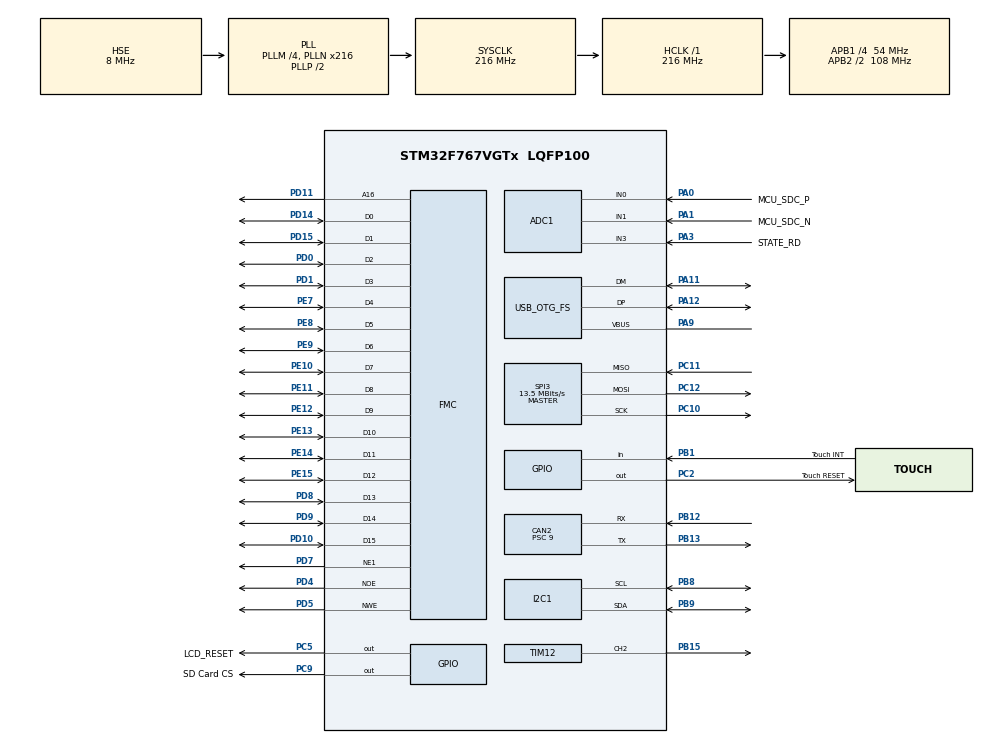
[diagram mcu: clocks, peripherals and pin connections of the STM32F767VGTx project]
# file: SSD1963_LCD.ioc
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ADC1.Channel-0\#ChannelRegularConversion=ADC_CHANNEL_1
ADC1.Channel-1\#ChannelRegularConversion=ADC_CHANNEL_0
ADC1.Channel-2\#ChannelRegularConversion=ADC_CHANNEL_0
ADC1.NbrOfConversion=3
ADC1.NbrOfConversionFlag=1
ADC1.Rank-0\#ChannelRegularConversion=1
ADC1.Rank-1\#ChannelRegularConversion=2
ADC1.Rank-2\#ChannelRegularConversion=3
ADC1.SamplingTime-0\#ChannelRegularConversion=ADC_SAMPLETIME_3CYCLES
ADC1.SamplingTime-1\#ChannelRegularConversion=ADC_SAMPLETIME_3CYCLES
ADC1.SamplingTime-2\#ChannelRegularConversion=ADC_SAMPLETIME_3CYCLES
ADC1.ScanConvMode=ADC_SCAN_ENABLE
ADC1.master=1
CAN2.BS1=CAN_BS1_9TQ
CAN2.BS2=CAN_BS2_2TQ
CAN2.CalculateBaudRate=499999
CAN2.CalculateTimeBit=2000
CAN2.CalculateTimeQuantum=166.66666666666669
CAN2.Prescaler=9
CORTEX_M7.AccessPermission_S-Cortex_Memory_Protection_Unit_Region1_Settings_S=MPU_REGION_FULL_ACCESS
CORTEX_M7.AccessPermission_Spec=MPU_REGION_PRIV_RW
CORTEX_M7.BaseAddress_S-Cortex_Memory_Protection_Unit_Region1_Settings_S=0x60000000
CORTEX_M7.DisableExec_S-Cortex_Memory_Protection_Unit_Region1_Settings_S=MPU_INSTRUCTION_ACCESS_DISABLE
CORTEX_M7.DisableExec_Spec=MPU_INSTRUCTION_ACCESS_ENABLE
CORTEX_M7.Enable_S-Cortex_Memory_Protection_Unit_Region1_Settings_S=MPU_REGION_ENABLE
CORTEX_M7.IsShareable_S-Cortex_Memory_Protection_Unit_Region1_Settings_S=MPU_ACCESS_SHAREABLE
CORTEX_M7.Size_S-Cortex_Memory_Protection_Unit_Region1_Settings_S=MPU_REGION_SIZE_8MB
CORTEX_M7.default_mode_Activation=1
FATFS._USE_LFN=1
FMC.AddressSetupTime1=15
FMC.DataSetupTime1=20
FMC.ExtendedMode1=FMC_EXTENDED_MODE_DISABLE
I2C1.Timing=0x20404768
Mcu.Family=STM32F7
Mcu.Name=STM32F767VGTx
Mcu.Package=LQFP100
NVIC.ADC_IRQn=true\:0\:0\:false\:false\:true\:true\:true\:true
NVIC.CAN2_RX0_IRQn=true\:0\:0\:false\:false\:true\:true\:true\:true
NVIC.CAN2_RX1_IRQn=true\:0\:0\:false\:false\:true\:true\:true\:true
NVIC.CAN2_TX_IRQn=true\:0\:0\:false\:false\:true\:true\:true\:true
NVIC.OTG_FS_IRQn=true\:0\:0\:false\:false\:true\:false\:true\:true
NVIC.PriorityGroup=NVIC_PRIORITYGROUP_4
PA0/WKUP.GPIO_Label=MCU_SDC_P
PA0/WKUP.Signal=ADCx_IN0
PA1.GPIO_Label=MCU_SDC_N
PA1.Signal=ADCx_IN1
PA11.Mode=Device_Only
PA11.Signal=USB_OTG_FS_DM
PA12.Mode=Device_Only
PA12.Signal=USB_OTG_FS_DP
PA13.Signal=SYS_JTMS-SWDIO
PA14.Signal=SYS_JTCK-SWCLK
PA3.GPIO_Label=STATE_RD
PA3.Signal=ADCx_IN3
PA9.Mode=Activate_VBUS
PA9.Signal=USB_OTG_FS_VBUS
PB1.GPIO_Label=Touch INT
PB1.GPIO_PuPd=GPIO_PULLUP
PB1.Signal=GPIO_Input
PB12.Mode=CAN_Activate
PB12.Signal=CAN2_RX
PB13.Mode=CAN_Activate
PB13.Signal=CAN2_TX
PB15.Signal=S_TIM12_CH2
PB8.Mode=I2C
PB8.Signal=I2C1_SCL
PB9.Mode=I2C
PB9.Signal=I2C1_SDA
PC10.Mode=Full_Duplex_Master
PC10.Signal=SPI3_SCK
PC11.Mode=Full_Duplex_Master
PC11.Signal=SPI3_MISO
PC12.Mode=Full_Duplex_Master
PC12.Signal=SPI3_MOSI
PC2.GPIO_Label=Touch RESET
PC2.PinState=GPIO_PIN_SET
PC2.Signal=GPIO_Output
PC5.GPIO_Label=LCD_RESET
PC5.PinState=GPIO_PIN_RESET
PC5.Signal=GPIO_Output
PC9.GPIO_Label=SD Card CS
PC9.PinState=GPIO_PIN_SET
PC9.Signal=GPIO_Output
PD0.GPIO_Speed_High_Default=GPIO_SPEED_FREQ_MEDIUM
PD0.Signal=FMC_D2_DA2
PD1.GPIO_Speed_High_Default=GPIO_SPEED_FREQ_MEDIUM
PD1.Signal=FMC_D3_DA3
PD10.GPIO_Speed_High_Default=GPIO_SPEED_FREQ_MEDIUM
PD10.Signal=FMC_D15_DA15
PD11.GPIO_Speed_High_Default=GPIO_SPEED_FREQ_MEDIUM
PD11.Signal=FMC_A16_CLE
PD14.GPIO_Speed_High_Default=GPIO_SPEED_FREQ_MEDIUM
PD14.Signal=FMC_D0_DA0
PD15.GPIO_Speed_High_Default=GPIO_SPEED_FREQ_MEDIUM
PD15.Signal=FMC_D1_DA1
PD4.GPIO_PuPd=GPIO_PULLUP
PD4.GPIO_Speed_High_Default=GPIO_SPEED_FREQ_MEDIUM
PD4.Signal=FMC_NOE
PD5.GPIO_PuPd=GPIO_PULLUP
PD5.GPIO_Speed_High_Default=GPIO_SPEED_FREQ_MEDIUM
PD5.Signal=FMC_NWE
PD7.GPIO_PuPd=GPIO_PULLUP
PD7.GPIO_Speed_High_Default=GPIO_SPEED_FREQ_MEDIUM
PD7.Mode=NorPsramChipSelect1_1
PD7.Signal=FMC_NE1
PD8.GPIO_Speed_High_Default=GPIO_SPEED_FREQ_MEDIUM
PD8.Signal=FMC_D13_DA13
PD9.GPIO_Speed_High_Default=GPIO_SPEED_FREQ_MEDIUM
PD9.Signal=FMC_D14_DA14
PE10.GPIO_Speed_High_Default=GPIO_SPEED_FREQ_MEDIUM
PE10.Signal=FMC_D7_DA7
PE11.GPIO_Speed_High_Default=GPIO_SPEED_FREQ_MEDIUM
PE11.Signal=FMC_D8_DA8
PE12.GPIO_Speed_High_Default=GPIO_SPEED_FREQ_MEDIUM
PE12.Signal=FMC_D9_DA9
PE13.GPIO_Speed_High_Default=GPIO_SPEED_FREQ_MEDIUM
PE13.Signal=FMC_D10_DA10
PE14.GPIO_Speed_High_Default=GPIO_SPEED_FREQ_MEDIUM
PE14.Signal=FMC_D11_DA11
PE15.GPIO_Speed_High_Default=GPIO_SPEED_FREQ_MEDIUM
PE15.Signal=FMC_D12_DA12
PE7.GPIO_Speed_High_Default=GPIO_SPEED_FREQ_MEDIUM
PE7.Signal=FMC_D4_DA4
PE8.GPIO_Speed_High_Default=GPIO_SPEED_FREQ_MEDIUM
PE8.Signal=FMC_D5_DA5
PE9.GPIO_Speed_High_Default=GPIO_SPEED_FREQ_MEDIUM
PE9.Signal=FMC_D6_DA6
PH0/OSC_IN.Mode=HSE-External-Oscillator
PH0/OSC_IN.Signal=RCC_OSC_IN
PH1/OSC_OUT.Mode=HSE-External-Oscillator
PH1/OSC_OUT.Signal=RCC_OSC_OUT
ProjectManager.HeapSize=0x2000
ProjectManager.StackSize=0x2000
ProjectManager.TargetToolchain=CMake
RCC.AHBFreq_Value=216000000
RCC.APB1CLKDivider=RCC_HCLK_DIV4
RCC.APB1Freq_Value=54000000
RCC.APB1TimFreq_Value=108000000
RCC.APB2CLKDivider=RCC_HCLK_DIV2
RCC.APB2Freq_Value=108000000
RCC.APB2TimFreq_Value=216000000
RCC.CortexFreq_Value=216000000
RCC.HCLKFreq_Value=216000000
RCC.HSE_VALUE=8000000
RCC.HSI_VALUE=16000000
RCC.LSE_VALUE=32768
RCC.PLLM=4
RCC.PLLN=216
RCC.PLLQ=9
RCC.SYSCLKFreq_VALUE=216000000
RCC.SYSCLKSource=RCC_SYSCLKSOURCE_PLLCLK
RCC.USBFreq_Value=48000000
RCC.VCOOutputFreq_Value=432000000
SH.ADCx_IN0.0=ADC1_IN0,IN0
SH.ADCx_IN1.0=ADC1_IN1,IN1
SH.ADCx_IN3.0=ADC1_IN3,IN3
SH.FMC_A16_CLE.0=FMC_A16,A16_1
SH.FMC_D0_DA0.0=FMC_D0,16b-d1
SH.FMC_D10_DA10.0=FMC_D10,16b-d1
SH.FMC_D11_DA11.0=FMC_D11,16b-d1
SH.FMC_D12_DA12.0=FMC_D12,16b-d1
SH.FMC_D13_DA13.0=FMC_D13,16b-d1
SH.FMC_D14_DA14.0=FMC_D14,16b-d1
SH.FMC_D15_DA15.0=FMC_D15,16b-d1
SH.FMC_D1_DA1.0=FMC_D1,16b-d1
SH.FMC_D2_DA2.0=FMC_D2,16b-d1
SH.FMC_D3_DA3.0=FMC_D3,16b-d1
SH.FMC_D4_DA4.0=FMC_D4,16b-d1
SH.FMC_D5_DA5.0=FMC_D5,16b-d1
SH.FMC_D6_DA6.0=FMC_D6,16b-d1
SH.FMC_D7_DA7.0=FMC_D7,16b-d1
SH.FMC_D8_DA8.0=FMC_D8,16b-d1
SH.FMC_D9_DA9.0=FMC_D9,16b-d1
SH.FMC_NOE.0=FMC_NOE,Lcd1
SH.FMC_NWE.0=FMC_NWE,Lcd1
SH.S_TIM12_CH2.0=TIM12_CH2,PWM Generation2 CH2
SPI3.BaudRatePrescaler=SPI_BAUDRATEPRESCALER_4
SPI3.CalculateBaudRate=13.5 MBits/s
SPI3.DataSize=SPI_DATASIZE_8BIT
SPI3.Direction=SPI_DIRECTION_2LINES
SPI3.Mode=SPI_MODE_MASTER
SPI3.NSSPMode=SPI_NSS_PULSE_DISABLE
SPI3.VirtualType=VM_MASTER
TIM12.Channel-PWM\ Generation2\ CH2=TIM_CHANNEL_2
USB_DEVICE.CLASS_NAME_FS=CDC
USB_DEVICE.USBD_LPM_ENABLED-CDC_FS=0
USB_DEVICE.USBD_SELF_POWERED-CDC_FS=0
USB_DEVICE.VirtualMode-CDC_FS=Cdc
USB_DEVICE.VirtualModeFS=Cdc_FS
USB_OTG_FS.VirtualMode=Device_Only
VP_FATFS_VS_Generic.Mode=User_defined
VP_USB_DEVICE_VS_USB_DEVICE_CDC_FS.Mode=CDC_FS
board=custom

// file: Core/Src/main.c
/* USER CODE BEGIN Header */
  /**
    ******************************************************************************
    * @file           : main.c
    * @brief          : Main program body
    ******************************************************************************
    * @attention
    *
    * Copyright (c) 2026 STMicroelectronics.
    * All rights reserved.
    *
    * This software is licensed under terms that can be found in the LICENSE file
    * in the root directory of this software component.
    * If no LICENSE file comes with this software, it is provided AS-IS.
    *
    ******************************************************************************
    */
/* USER CODE END Header */
#include "main.h"
#include "adc.h"
#include "can.h"
#include "fatfs.h"
#include "i2c.h"
#include "spi.h"
#include "tim.h"
#include "usb_device.h"
#include "gpio.h"
#include "fmc.h"

/* USER CODE BEGIN Includes */
  #include <string.h>
  #include "gfx.h"
  #include "ssd1963.h"
  #include "gt911.h" //touchscreen

  #include "CONFIG/display_config.h"

  #include "dashboard/endurance_dashboard.h"
  #include "dashboard/pedal_graph_dashboard.h"
  #include "dashboard/dashboard_tests.h"

  //sd card
  #include "sd_card.h"
  #include "fatfs.h"
  #include "ff.h"

  //Logos
  #include "logos/ugr_logo.h"

  //USB
  #include "usbd_core.h"
  extern USBD_HandleTypeDef hUsbDeviceFS;

/* USER CODE END Includes */

/* USER CODE BEGIN PTD */

/* USER CODE END PFP */

/* USER CODE END PTD */

/* USER CODE BEGIN PM */
    const char *fr_str(FRESULT fr)
    {
        switch (fr)
        {
            case FR_OK: return "FR_OK";
            case FR_DISK_ERR: return "FR_DISK_ERR";
            case FR_INT_ERR: return "FR_INT_ERR";
            case FR_NOT_READY: return "FR_NOT_READY";
            case FR_NO_FILE: return "FR_NO_FILE";
            case FR_NO_PATH: return "FR_NO_PATH";
            case FR_INVALID_NAME: return "FR_INVALID_NAME";
            case FR_DENIED: return "FR_DENIED";
            case FR_EXIST: return "FR_EXIST";
            case FR_INVALID_OBJECT: return "FR_INVALID_OBJECT";
            case FR_WRITE_PROTECTED: return "FR_WRITE_PROTECTED";
            case FR_INVALID_DRIVE: return "FR_INVALID_DRIVE";
            case FR_NOT_ENABLED: return "FR_NOT_ENABLED";
            case FR_NO_FILESYSTEM: return "FR_NO_FILESYSTEM";
            case FR_MKFS_ABORTED: return "FR_MKFS_ABORTED";
            case FR_TIMEOUT: return "FR_TIMEOUT";
            case FR_LOCKED: return "FR_LOCKED";
            case FR_NOT_ENOUGH_CORE: return "FR_NOT_ENOUGH_CORE";
            case FR_TOO_MANY_OPEN_FILES: return "FR_TOO_MANY_OPEN_FILES";
            case FR_INVALID_PARAMETER: return "FR_INVALID_PARAMETER";
            default: return "FR_UNKNOWN";
        }
    }
/* USER CODE END PM */

/* USER CODE BEGIN PV */

#if SCREEN_TEST_MODE
    static DashboardTestSim dashboard_test_sim;
    static Dashboard dashboard_can_sim_tx;
#endif

/*
=========================
======== CAN BUS ========
=========================

*/

#define CAN2_RX_QUEUE_SIZE    16
#define CAN_ID_DASHBOARD      0x100 //ADDRESS!!!!!!!!!!!!!!!!!!!!!!!!===============================
#define CAN_DASHBOARD_DLC     8 //Length of data

#define DASH_IDX_BATTERY      0
#define DASH_IDX_CELL_TEMP    1
#define DASH_IDX_WATER_TEMP   2
#define DASH_IDX_SPEED_L      3
#define DASH_IDX_SPEED_H      4
#define DASH_IDX_LAP          5
#define DASH_IDX_THROTTLE     6
#define DASH_IDX_BRAKE        7

typedef struct
{
    CAN_RxHeaderTypeDef hdr;
    uint8_t data[8];
} CAN2_RxMessage;

/*
    ===========================================
    CAN message format (ID 0x100):
    byte0 = battery_charge
    byte1 = cell_temperature
    byte2 = water_temperature
    byte3 = speed low byte
    byte4 = speed high byte
    byte5 = lap byte
    byte6 = throttle_percent
    byte7 = brake_percent
    ===========================================
*/

/*
==========================
=== DASHBOARD INSTANCE ===
==========================
*/
static Dashboard d = {

    .lap = 0,
    .battery_charge = 0,
    .cell_temperature = 0,
    .water_temperature = 0, //obsolete
    .speed = 0,
    .throttle_percent = 0,
    .brake_percent = 0
};

/*
========================================
=========== GLOBAL TEMP VALUES =========
========================================
*/

// screen reading temps
static volatile uint8_t updated = 0;
static enum Screen_State screen_state = STARTING_SCREEN;
static enum TouchMode touch_mode = TOUCH_MODE;

//touch screen temps
static uint8_t last_touch = 0;
static uint32_t next_touch_allowed = 0;
static GT911_State touch;
static uint8_t touch_ok = 0;

//can temps
static volatile uint8_t can2_rx_head = 0;
static volatile uint8_t can2_rx_tail = 0;
static volatile uint8_t can2_rx_overflow = 0;
static CAN2_RxMessage can2_rx_queue[CAN2_RX_QUEUE_SIZE];

//adc reading temps
static uint8_t sdc_first_sample_done = 0;
static StateRdLevel last_state_rd_level = 0xFF;
static uint16_t last_mcu_sdc_minus = 0xFFFF;
static uint16_t last_mcu_sdc_plus  = 0xFFFF;

//USB REQUESTS
static volatile uint8_t g_enter_dfu_requested = 0;
static volatile uint8_t g_screen_change_requested = 0;
static volatile ScreenRequest g_requested_screen = SCREEN_REQ_NONE;

/* USER CODE END PV */

void SystemClock_Config(void);
static void MPU_Config(void);
/* USER CODE BEGIN PFP */

//CAN PROTOTYPES
uint8_t CAN2_RxQueue_Pop(CAN2_RxMessage *msg);
uint8_t CAN2_RxQueue_Push(const CAN_RxHeaderTypeDef *hdr, const uint8_t *data);
void CAN2_Start(void);
void CAN2_SendSdcState(uint16_t sdc_minus, uint16_t sdc_plus);
void Dashboard_UpdateFromCAN(const CAN2_RxMessage *msg);

#if CAN_TEST_MODE
static uint8_t CAN2_TestSendDashboardFrame(const Dashboard *src);
static void DashboardSim_SendViaLoopbackCAN(uint32_t now_ms);
#endif

/* USER CODE END PFP */

int main(void)
{

  /* USER CODE BEGIN 1 */

  /*
   * Absolute first thing after MCU reset:
   * hold LCD reset low and keep LCD control lines inactive.
   * This is for NRST/warm-reset stability.
   */
  LCD_EarlyPinHold_NoHAL();

  /* USER CODE END 1 */

  /* MPU Configuration--------------------------------------------------------*/
  MPU_Config();

  /* MCU Configuration--------------------------------------------------------*/

  /* Reset of all peripherals, Initializes the Flash interface and the Systick. */
  HAL_Init();

  /* Configure the system clock */
  SystemClock_Config();

  /* Initialize all configured peripherals */
  MX_GPIO_Init();
  MX_FMC_Init();
  MX_TIM12_Init();
  MX_I2C1_Init();
  MX_CAN2_Init();
  MX_SPI3_Init();
  MX_FATFS_Init();
  MX_USB_DEVICE_Init();
  MX_ADC1_Init();
  /* USER CODE BEGIN 2 */

 //LCD start up
 HAL_TIM_PWM_Start(&htim12, TIM_CHANNEL_2);
 LCD_SetBrightness(0);
 HAL_Delay(100);
 LCD_ControllerRebootAtStartup();

 //Touchscreen init
 touch_ok = (GT911_Init(&hi2c1) == HAL_OK) ? 1 : 0;

 //Enable CAN
 CAN2_Start();
 __enable_irq();

 //Draw the logo
 Screen_State_Change(STARTING_SCREEN);

 #if AUTOMATIC_TRANSITION_FROM_STARTING_SCREEN
 HAL_Delay(4000);
 Screen_State_Change(AUTOMATIC_SECOND_SCREEN);
 #endif

  /* USER CODE END 2 */

  /* Infinite loop */
  /* USER CODE BEGIN WHILE */

    while (1)
    {

        //=========================================================
        //================= TOUCH SCREEN POLLING  =================
        //=========================================================

        if (touch_ok && touch_mode != DISABLED && HAL_GetTick() - last_touch >= 25)
        {
            if (GT911_ReadState(&touch) == HAL_OK)
            {
                if (touch.touched && !last_touch)
                {
                    uint32_t now = HAL_GetTick();

                    if (now >= next_touch_allowed)
                    {
                        /*
                        =============WHERE TOUCH IS REGISTERED LOGIC==============
                        UI_Area a = (screen_state == ENDURANCE)
                                ? dash_get_area(DASH_AREA_SMALL_LOGO)
                                : dash_get_area(DASH_AREA_BIG_LOGO);

                        uint16_t tx = touch.x;
                        uint16_t ty = touch.y;

                        if (tx >= a.x1 && tx <= a.x2 &&
                            ty >= a.y1 && ty <= a.y2)
                        {
                        */
                       /*
                       CURRENTLY FLIPS THROUGH ALL SCREENS
                       */
                        if(screen_state == LOGO) {
                            screen_state = ENDURANCE;
                        }
                        else if(screen_state == ENDURANCE) {
                            screen_state = PEDAL;
                        }
                        else if(screen_state == PEDAL) {
                            screen_state = LOGO;
                        }

                       Screen_State_Change(screen_state);

                        //record next touch
                        next_touch_allowed = now + TOUCH_COOLDOWN_MS;
                    }
                }

                last_touch = touch.touched;
            }
        }

        //==================================================================
        //========GO TO BOOTLOADER OR SWITCH SCREEN FROM USB INPUT==========
        //==================================================================

        if (g_enter_dfu_requested)
        {
            g_enter_dfu_requested = 0;
            HAL_Delay(20);
            JumpToSystemBootloader();
        }

        //==================================================================
        //================ ADC INPUT PROCESSING SECTION ====================
        //==================================================================

        {
            static uint32_t last_adc_sample_ms = 0;

            if (HAL_GetTick() - last_adc_sample_ms >= 50)
            {
                last_adc_sample_ms = HAL_GetTick();

                //Call the handler that reads the ADC values
                //Also sends the SDC state over CAN if SEND_SDC_STATE is set to 1
                ADC1_Private_Handler();
            }

        }
        //==================================================================
        //==========THIS ONLY RUNS IF TESTING THE SCREEN'S WIDGETS==========
        //==================================================================

        #if SCREEN_TEST_MODE
        static uint32_t last_screen_test = 0;

        if (HAL_GetTick() - last_screen_test >= 50)
        {
            last_screen_test = HAL_GetTick();

            if (CAN_TEST_MODE)
                {
                    /*
                    * Uses real CAN TX + bxCAN internal loopback.
                    * Real d is updated only after HAL RX callback + RX queue + parser.
                    */
                    #if CAN_TEST_MODE
                    DashboardSim_SendViaLoopbackCAN(last_screen_test);
                    #endif
                }
                else
                {
                    /*
                    * Direct dashboard test mode: bypasses CAN.
                    */
                    dashboard_test_sim_step(&dashboard_test_sim, &d, last_screen_test);
                    updated = 1;
                }
        }
        #endif

        //==================================================================
        //=================CAN RX SECTION - IMPORTANT!!!!!!=================
        //==================================================================

        CAN2_RxMessage msg;
        uint8_t has_msg;

        do
        {
            //Pop a message from the CAN RX queue (disables interrupts to avoid racd condition)
            __disable_irq();
            has_msg = CAN2_RxQueue_Pop(&msg);
            __enable_irq();

            if (has_msg)
            {
                //check if it's valid an matched address
                if (msg.hdr.IDE == CAN_ID_STD && msg.hdr.StdId == CAN_ID_DASHBOARD)
                {
                    //check if the data length is valid
                    if (msg.hdr.DLC >= CAN_DASHBOARD_DLC)
                    {
                        Dashboard_UpdateFromCAN(&msg);
                        updated = 1;
                    }
                }
            }

        } while (has_msg);

        //==================================================================
        //=================State machine for screen updates=================
        //==================================================================

        //This switch statement concerns updates to the screen state
        switch(screen_state)
        {
            case ENDURANCE:
                if (updated)
                {
                    updated = 0;
                    endurance_dash_update(&d);
                }
                break;

            case PEDAL:
                if (updated)
                {
                    updated = 0;
                    pedal_graph_dash_update(&d);
                }
                break;

            case LOGO:
            // No updates needed for logo screen -> static logo
                break;
        }

        //End of WHILE LOOP
        HAL_Delay(1);

    }

    /* USER CODE END WHILE */

}

void SystemClock_Config(void)
{
  RCC_OscInitTypeDef RCC_OscInitStruct = {0};
  RCC_ClkInitTypeDef RCC_ClkInitStruct = {0};

  /** Configure the main internal regulator output voltage
  */
  __HAL_RCC_PWR_CLK_ENABLE();
  __HAL_PWR_VOLTAGESCALING_CONFIG(PWR_REGULATOR_VOLTAGE_SCALE1);

  /** Initializes the RCC Oscillators according to the specified parameters
  * in the RCC_OscInitTypeDef structure.
  */
  RCC_OscInitStruct.OscillatorType = RCC_OSCILLATORTYPE_HSE;
  RCC_OscInitStruct.HSEState = RCC_HSE_ON;
  RCC_OscInitStruct.PLL.PLLState = RCC_PLL_ON;
  RCC_OscInitStruct.PLL.PLLSource = RCC_PLLSOURCE_HSE;
  RCC_OscInitStruct.PLL.PLLM = 4;
  RCC_OscInitStruct.PLL.PLLN = 216;
  RCC_OscInitStruct.PLL.PLLP = RCC_PLLP_DIV2;
  RCC_OscInitStruct.PLL.PLLQ = 9;
  RCC_OscInitStruct.PLL.PLLR = 2;
  if (HAL_RCC_OscConfig(&RCC_OscInitStruct) != HAL_OK)
  {
    Error_Handler();
  }

  /** Activate the Over-Drive mode
  */
  if (HAL_PWREx_EnableOverDrive() != HAL_OK)
  {
    Error_Handler();
  }

  /** Initializes the CPU, AHB and APB buses clocks
  */
  RCC_ClkInitStruct.ClockType = RCC_CLOCKTYPE_HCLK|RCC_CLOCKTYPE_SYSCLK
                              |RCC_CLOCKTYPE_PCLK1|RCC_CLOCKTYPE_PCLK2;
  RCC_ClkInitStruct.SYSCLKSource = RCC_SYSCLKSOURCE_PLLCLK;
  RCC_ClkInitStruct.AHBCLKDivider = RCC_SYSCLK_DIV1;
  RCC_ClkInitStruct.APB1CLKDivider = RCC_HCLK_DIV4;
  RCC_ClkInitStruct.APB2CLKDivider = RCC_HCLK_DIV2;

  if (HAL_RCC_ClockConfig(&RCC_ClkInitStruct, FLASH_LATENCY_7) != HAL_OK)
  {
    Error_Handler();
  }
}

/* USER CODE BEGIN 4 */

void Dashboard_UpdateFromCAN(const CAN2_RxMessage *msg)
{
    if (!msg) {
        return;
    }

    d.battery_charge    = msg->data[DASH_IDX_BATTERY];
    d.cell_temperature  = msg->data[DASH_IDX_CELL_TEMP];
    d.water_temperature = msg->data[DASH_IDX_WATER_TEMP];
    d.speed             = (uint16_t)msg->data[DASH_IDX_SPEED_L] | ((uint16_t)msg->data[DASH_IDX_SPEED_H] << 8);
    d.lap               = msg->data[DASH_IDX_LAP];
    d.throttle_percent  = msg->data[DASH_IDX_THROTTLE];
    d.brake_percent     = msg->data[DASH_IDX_BRAKE];
}

void JumpToSystemBootloader(void)
{
    void (*SysMemBootJump)(void);
    uint32_t sysmem_addr = 0x1FF00000U;   // verify for your exact STM32F767 variant

    __disable_irq();

    USBD_Stop(&hUsbDeviceFS);
    USBD_DeInit(&hUsbDeviceFS);

    HAL_RCC_DeInit();
    HAL_DeInit();

    SysTick->CTRL = 0;
    SysTick->LOAD = 0;
    SysTick->VAL  = 0;

    for (uint32_t i = 0; i < 8; i++) {
        NVIC->ICER[i] = 0xFFFFFFFF;
        NVIC->ICPR[i] = 0xFFFFFFFF;
    }

    __HAL_RCC_SYSCFG_CLK_ENABLE();
    SYSCFG->MEMRMP = SYSCFG_MEMRMP_MEM_BOOT;

    __DSB();
    __ISB();

    __set_MSP(*(volatile uint32_t *)sysmem_addr);
    SysMemBootJump = (void (*)(void))(*(volatile uint32_t *)(sysmem_addr + 4U));
    SysMemBootJump();

    while (1) {
    }
}

uint16_t ADC1_ReadChannel(uint32_t channel)
{
    ADC_ChannelConfTypeDef sConfig = {0};

    sConfig.Channel = channel;
    sConfig.Rank = 1;
    sConfig.SamplingTime = ADC_SAMPLETIME_480CYCLES;
#if defined(ADC_SINGLE_ENDED)
    sConfig.SingleDiff = ADC_SINGLE_ENDED;
    sConfig.OffsetNumber = ADC_OFFSET_NONE;
    sConfig.Offset = 0;
#endif

    if (HAL_ADC_ConfigChannel(&hadc1, &sConfig) != HAL_OK)
    {
        Error_Handler();
    }

    if (HAL_ADC_Start(&hadc1) != HAL_OK)
    {
        Error_Handler();
    }

    if (HAL_ADC_PollForConversion(&hadc1, 10) != HAL_OK)
    {
        HAL_ADC_Stop(&hadc1);
        Error_Handler();
    }

    uint16_t value = (uint16_t)HAL_ADC_GetValue(&hadc1);

    HAL_ADC_Stop(&hadc1);

    return value;
}

StateRdLevel GetStateRdLevel(uint16_t adc_value)
{
    if (adc_value < STATE_RD_TH_LOW)
    {
        return STATE_RD_LEVEL_0;
    }
    else if (adc_value < STATE_RD_TH_HIGH)
    {
        return STATE_RD_LEVEL_1;
    }
    else
    {
        return STATE_RD_LEVEL_2;
    }
}

void ApplyScreenFromStateRd(StateRdLevel level)
{
    if (level == last_state_rd_level)
    {
        return;
    }

    last_state_rd_level = level;

    switch (level)
    {
        case STATE_RD_LEVEL_0:
            screen_state = LOGO;
            updated = 1;
            break;

        case STATE_RD_LEVEL_1:
            screen_state = ENDURANCE;
            updated = 1;
            break;

        case STATE_RD_LEVEL_2:
        default:
            screen_state = PEDAL;
            updated = 1;
            break;
    }
}

//SEND SDC STATE
void CAN2_SendSdcState(uint16_t sdc_minus, uint16_t sdc_plus)
{
    CAN_TxHeaderTypeDef txHeader;
    uint32_t txMailbox;
    uint8_t txData[8] = {0};

    txHeader.StdId = CAN_ID_SDC_STATE;
    txHeader.ExtId = 0;
    txHeader.IDE = CAN_ID_STD;
    txHeader.RTR = CAN_RTR_DATA;
    txHeader.DLC = CAN_SDC_STATE_DLC;
    txHeader.TransmitGlobalTime = DISABLE;

    txData[0] = (uint8_t)(sdc_minus & 0xFF);
    txData[1] = (uint8_t)((sdc_minus >> 8) & 0xFF);
    txData[2] = (uint8_t)(sdc_plus & 0xFF);
    txData[3] = (uint8_t)((sdc_plus >> 8) & 0xFF);

    HAL_CAN_AddTxMessage(&hcan2, &txHeader, txData, &txMailbox);
}

#if CAN_TEST_MODE

static uint8_t CAN2_TestSendDashboardFrame(const Dashboard *src)
{
    if (!src) {
        return 0;
    }

    /*
     * Build a real CAN TX frame using the dashboard message format.
     * In CAN_MODE_LOOPBACK, HAL_CAN_AddTxMessage() will transmit internally
     * and the frame will appear in RX FIFO like a received CAN frame.
     */
    CAN_TxHeaderTypeDef txHeader;
    uint32_t txMailbox;
    uint8_t txData[8] = {0};

    memset(&txHeader, 0, sizeof(txHeader));

    txHeader.StdId = CAN_ID_DASHBOARD;
    txHeader.ExtId = 0;
    txHeader.IDE   = CAN_ID_STD;
    txHeader.RTR   = CAN_RTR_DATA;
    txHeader.DLC   = CAN_DASHBOARD_DLC;
    txHeader.TransmitGlobalTime = DISABLE;

    txData[DASH_IDX_BATTERY]    = src->battery_charge;
    txData[DASH_IDX_CELL_TEMP]  = src->cell_temperature;
    txData[DASH_IDX_WATER_TEMP] = src->water_temperature;
    txData[DASH_IDX_SPEED_L]    = (uint8_t)(src->speed & 0xFF);
    txData[DASH_IDX_SPEED_H]    = (uint8_t)((src->speed >> 8) & 0xFF);
    txData[DASH_IDX_LAP]        = src->lap;
    txData[DASH_IDX_THROTTLE]   = src->throttle_percent;
    txData[DASH_IDX_BRAKE]      = src->brake_percent;

    if (HAL_CAN_GetTxMailboxesFreeLevel(&hcan2) == 0) {
        return 0;
    }

    return (HAL_CAN_AddTxMessage(&hcan2, &txHeader, txData, &txMailbox) == HAL_OK) ? 1 : 0;
}

static void DashboardSim_SendViaLoopbackCAN(uint32_t now_ms)
{
    /*
     * Generate random/simulated sender-side data using dashboard_tests.c.
     * This does NOT modify real dashboard d.
     */
    dashboard_test_sim_step(&dashboard_test_sim, &dashboard_can_sim_tx, now_ms);

    /*
     * Send the simulated data through the real CAN peripheral.
     * In CAN_MODE_LOOPBACK, the normal HAL RX callback will receive it.
     */
    (void)CAN2_TestSendDashboardFrame(&dashboard_can_sim_tx);
}

#endif

void CAN2_Start(void)
{
    CAN_FilterTypeDef f;
    memset(&f, 0, sizeof(f));

    f.FilterActivation     = ENABLE;
    f.FilterMode           = CAN_FILTERMODE_IDMASK;
    f.FilterScale          = CAN_FILTERSCALE_32BIT;
    f.FilterFIFOAssignment = CAN_RX_FIFO0;
    f.FilterBank           = 14;
    f.SlaveStartFilterBank = 14;

    // Standard ID exact match for 0x100
    f.FilterIdHigh         = (CAN_ID_DASHBOARD << 5);
    f.FilterIdLow          = 0x0000;
    f.FilterMaskIdHigh     = (0x7FF << 5); // All 11 bits of the ID matter (7FF is 0111 1111 1111)
    f.FilterMaskIdLow      = 0x0000;

    if (HAL_CAN_ConfigFilter(&hcan2, &f) != HAL_OK)
        Error_Handler();

    if (HAL_CAN_Start(&hcan2) != HAL_OK)
        Error_Handler();

    if (HAL_CAN_ActivateNotification(&hcan2, CAN_IT_RX_FIFO0_MSG_PENDING) != HAL_OK)
        Error_Handler();
}

  void HAL_CAN_RxFifo0MsgPendingCallback(CAN_HandleTypeDef *hcan)
  {
      if (hcan->Instance != CAN2) return;

      CAN_RxHeaderTypeDef rxh;
      uint8_t data[8];

      while (HAL_CAN_GetRxFifoFillLevel(hcan, CAN_RX_FIFO0) > 0)
      {
          if (HAL_CAN_GetRxMessage(hcan, CAN_RX_FIFO0, &rxh, data) != HAL_OK) {
              return;
          }

          CAN2_RxQueue_Push(&rxh, data);
      }
  }

uint8_t CAN2_RxQueue_Push(const CAN_RxHeaderTypeDef *hdr, const uint8_t *data)
  {
      uint8_t next = (uint8_t)((can2_rx_head + 1) % CAN2_RX_QUEUE_SIZE);

      if (next == can2_rx_tail) {
          can2_rx_overflow = 1;   // queue full
          return 0;
      }

      can2_rx_queue[can2_rx_head].hdr = *hdr;
      for (int i = 0; i < 8; i++) {
          can2_rx_queue[can2_rx_head].data[i] = data[i];
      }

      can2_rx_head = next;
      return 1;
  }

uint8_t CAN2_RxQueue_Pop(CAN2_RxMessage *msg)
  {
      if (can2_rx_head == can2_rx_tail) {
          return 0;   // empty
      }

      *msg = can2_rx_queue[can2_rx_tail];
      can2_rx_tail = (uint8_t)((can2_rx_tail + 1) % CAN2_RX_QUEUE_SIZE);
      return 1;
  }

/*
==========
HELPERS
==========
*/

void Screen_State_Change(enum Screen_State new_state)
    {
        //make sure the new state is valid
        screen_state = new_state;

        //update and clear screen
        updated = 1;
        SSD1963_Fill(RGB565(0, 0, 0));

        if(screen_state == ENDURANCE) {

            endurance_dash_init(
                d.battery_charge,
                d.cell_temperature,
                d.lap,
                d.speed
            );
        }
        else if (screen_state == PEDAL) {

            pedal_graph_dash_init(
                d.battery_charge,
                d.cell_temperature,
                d.lap,
                d.speed,
                d.throttle_percent,
                d.brake_percent
            );
        }
        else if (screen_state == LOGO) {

            draw_big_UGR_logo();

        }
    }

void Request_EnterDfu(void)
{
    g_enter_dfu_requested = 1;
}

void Request_LogoScreen(void) {
    Screen_State_Change(LOGO);
}
void Request_EnduranceScreen(void) {
    Screen_State_Change(ENDURANCE);
}
void Request_PedalScreen(void) {
    Screen_State_Change(PEDAL);
}

//LCD Brightness control using TIM12 CH2 PWM on PB15
void LCD_SetBrightness(uint8_t percent)
{
    if (percent > 100) percent = 100;

    uint32_t arr = __HAL_TIM_GET_AUTORELOAD(&htim12);
    __HAL_TIM_SET_COMPARE(&htim12, TIM_CHANNEL_2, (arr * percent) / 100);
}

void ADC1_Private_Handler(void) {

    uint16_t sdc_p_adc    = ADC1_ReadChannel(ADC_CHANNEL_0); // PA0 = MCU_SDC_P
    uint16_t sdc_n_adc    = ADC1_ReadChannel(ADC_CHANNEL_1); // PA1 = MCU_SDC_N
    uint16_t state_rd_adc = ADC1_ReadChannel(ADC_CHANNEL_3); // PA3 = STATE_RD

    #if USE_ADC_FOR_SCREEN_STATE
    StateRdLevel state_level = GetStateRdLevel(state_rd_adc);
    ApplyScreenFromStateRd(state_level);
    #endif

    // Send CAN only when SDC readings change
    if (!sdc_first_sample_done ||
        sdc_p_adc != last_mcu_sdc_plus ||
        sdc_n_adc != last_mcu_sdc_minus)
    {
        #if USE_ADC_FOR_SCREEN_STATE
        // If using ADC for screen state
        CAN2_SendSdcState(sdc_n_adc, sdc_p_adc);
        #endif

        last_mcu_sdc_plus = sdc_p_adc;
        last_mcu_sdc_minus = sdc_n_adc;
        sdc_first_sample_done = 1;
    }
}

/* USER CODE END 4 */

 /* MPU Configuration */

void MPU_Config(void)
{
  MPU_Region_InitTypeDef MPU_InitStruct = {0};

  /* Disables the MPU */
  HAL_MPU_Disable();

  /** Initializes and configures the Region and the memory to be protected
  */
  MPU_InitStruct.Enable = MPU_REGION_ENABLE;
  MPU_InitStruct.Number = MPU_REGION_NUMBER0;
  MPU_InitStruct.BaseAddress = 0x0;
  MPU_InitStruct.Size = MPU_REGION_SIZE_4GB;
  MPU_InitStruct.SubRegionDisable = 0x87;
  MPU_InitStruct.TypeExtField = MPU_TEX_LEVEL0;
  MPU_InitStruct.AccessPermission = MPU_REGION_PRIV_RW;
  MPU_InitStruct.DisableExec = MPU_INSTRUCTION_ACCESS_ENABLE;
  MPU_InitStruct.IsShareable = MPU_ACCESS_SHAREABLE;
  MPU_InitStruct.IsCacheable = MPU_ACCESS_NOT_CACHEABLE;
  MPU_InitStruct.IsBufferable = MPU_ACCESS_NOT_BUFFERABLE;

  HAL_MPU_ConfigRegion(&MPU_InitStruct);

  /** Initializes and configures the Region and the memory to be protected
  */
  MPU_InitStruct.Number = MPU_REGION_NUMBER1;
  MPU_InitStruct.BaseAddress = 0x60000000;
  MPU_InitStruct.Size = MPU_REGION_SIZE_8MB;
  MPU_InitStruct.SubRegionDisable = 0x0;
  MPU_InitStruct.AccessPermission = MPU_REGION_FULL_ACCESS;
  MPU_InitStruct.DisableExec = MPU_INSTRUCTION_ACCESS_DISABLE;

  HAL_MPU_ConfigRegion(&MPU_InitStruct);
  /* Enables the MPU */
  HAL_MPU_Enable(MPU_PRIVILEGED_DEFAULT);

}

void Error_Handler(void)
{
  /* USER CODE BEGIN Error_Handler_Debug */
    /* User can add his own implementation to report the HAL error return state */
    __disable_irq();
    while (1)
    {
        SSD1963_Fill(RGB565(255, 0, 0));
    }
  /* USER CODE END Error_Handler_Debug */
}
